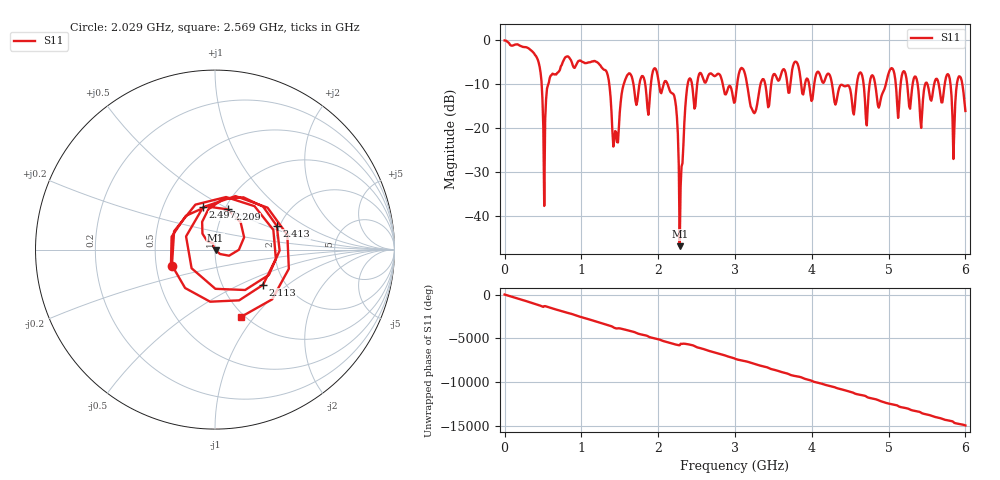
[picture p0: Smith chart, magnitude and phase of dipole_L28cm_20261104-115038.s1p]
! Dipole length 28 cm, measured 20261104-115038
# GHZ S RI R 50.000000000000
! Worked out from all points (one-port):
!   501 points, 1 MHz to 6 GHz, reference 50 ohm
!   lowest |S11| = -46.9 dB at 2.281 GHz (marker M1), VSWR 1.01, Z = 50.3 - j0.322 ohm
!   |S11| at or under -10 dB: 1.363 GHz to 1.552 GHz (188.6 MHz wide, 12.9 % of centre); 2.123 GHz to 2.385 GHz (262.1 MHz wide, 11.6 % of centre); 4.264 GHz to 4.587 GHz (323.3 MHz wide, 7.31 % of centre)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
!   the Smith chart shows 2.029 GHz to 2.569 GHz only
!   S11 on the Smith chart (normalised r, x): 2.029 GHz: 0.60, -0.12; 2.113 GHz: 1.55, -0.68; 2.209 GHz: 1.03, +0.49; 2.413 GHz: 1.93, +0.59; 2.497 GHz: 0.79, +0.40; 2.569 GHz: 0.97, -0.86
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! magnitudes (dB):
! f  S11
! 1 MHz  0.0
! 420.9 MHz  -4.0
! 516.9 MHz  -37.7
! 576.9 MHz  -9.6
! 756.9 MHz  -5.0
! 1.225 GHz  -5.3
! 1.345 GHz  -8.0
! 1.429 GHz  -22.6
! 1.501 GHz  -16.3
! 1.609 GHz  -7.8
! 2.029 GHz  -11.8
! 2.113 GHz  -9.6
! 2.209 GHz  -12.6
! 2.257 GHz  -21.4
! 2.281 GHz  -46.9
! 2.413 GHz  -8.7
! 2.497 GHz  -12.2
! 2.569 GHz  -7.9
! 3.001 GHz  -14.0
! 3.756 GHz  -5.8
! 4.5 GHz  -11.2
! 4.884 GHz  -14.7
! 5.04 GHz  -6.3
! 5.256 GHz  -12.5
! 5.772 GHz  -7.7
! 5.844 GHz  -27.0
! 5.928 GHz  -8.2
! 6 GHz  -16.1
